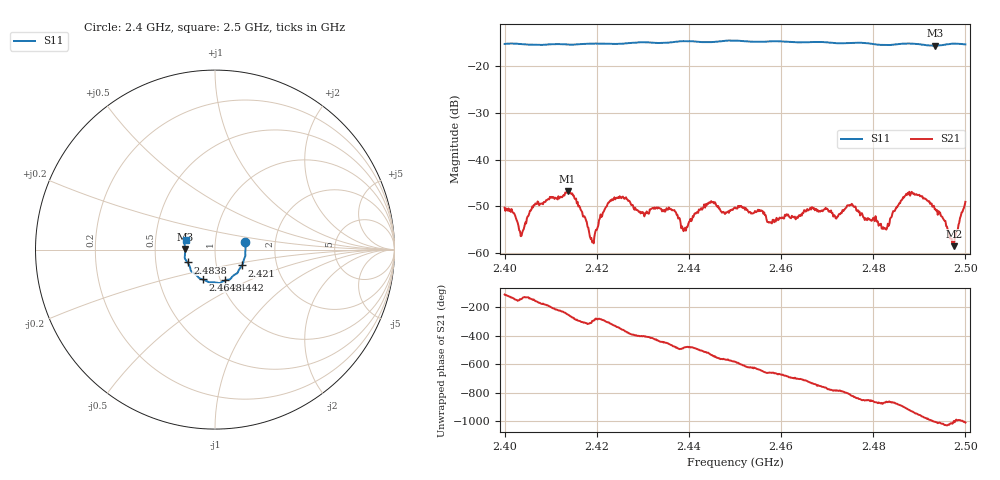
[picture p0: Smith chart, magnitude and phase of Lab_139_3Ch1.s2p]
# Hz S RI R 50
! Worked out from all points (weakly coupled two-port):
!   601 points, 2.4 GHz to 2.5 GHz, reference 50 ohm
!   highest |S21| = -46.74 dB at 2.4137 GHz (marker M1); lowest = -58.5 dB at 2.4975 GHz (marker M2)
!   lowest |S11| = -15.6 dB at 2.4935 GHz (marker M3), VSWR 1.40, Z = 35.8 + j0.207 ohm
!   |S11| at or under -10 dB: start of sweep to end of sweep
!   S12 and S22 are empty: the file has one direction only
!   S11 on the Smith chart (normalised r, x): 2.4 GHz: 1.40, +0.12; 2.421 GHz: 1.33, -0.24; 2.4442 GHz: 1.05, -0.37; 2.4648 GHz: 0.83, -0.28; 2.4838 GHz: 0.73, -0.11; 2.5 GHz: 0.72, +0.08
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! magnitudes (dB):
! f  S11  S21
! 2.4 GHz  -15.2  -50.3
! 2.4037 GHz  -15.3  -56.3
! 2.4068 GHz  -15.4  -49.4
! 2.4137 GHz  -15.4  -46.7
! 2.4167 GHz  -15.3  -51.0
! 2.419 GHz  -15.2  -57.7
! 2.421 GHz  -15.2  -52.3
! 2.4252 GHz  -15.2  -48.1
! 2.4333 GHz  -15.0  -50.3
! 2.4392 GHz  -14.6  -54.6
! 2.4442 GHz  -14.9  -49.5
! 2.45 GHz  -14.5  -50.2
! 2.4575 GHz  -14.7  -53.4
! 2.4648 GHz  -14.9  -51.4
! 2.4667 GHz  -14.8  -50.2
! 2.4752 GHz  -15.0  -49.7
! 2.4833 GHz  -15.5  -54.2
! 2.4838 GHz  -15.4  -52.4
! 2.488 GHz  -15.1  -47.7
! 2.4935 GHz  -15.6  -50.6
! 2.4975 GHz  -15.2  -58.5
! 2.5 GHz  -15.3  -49.0
